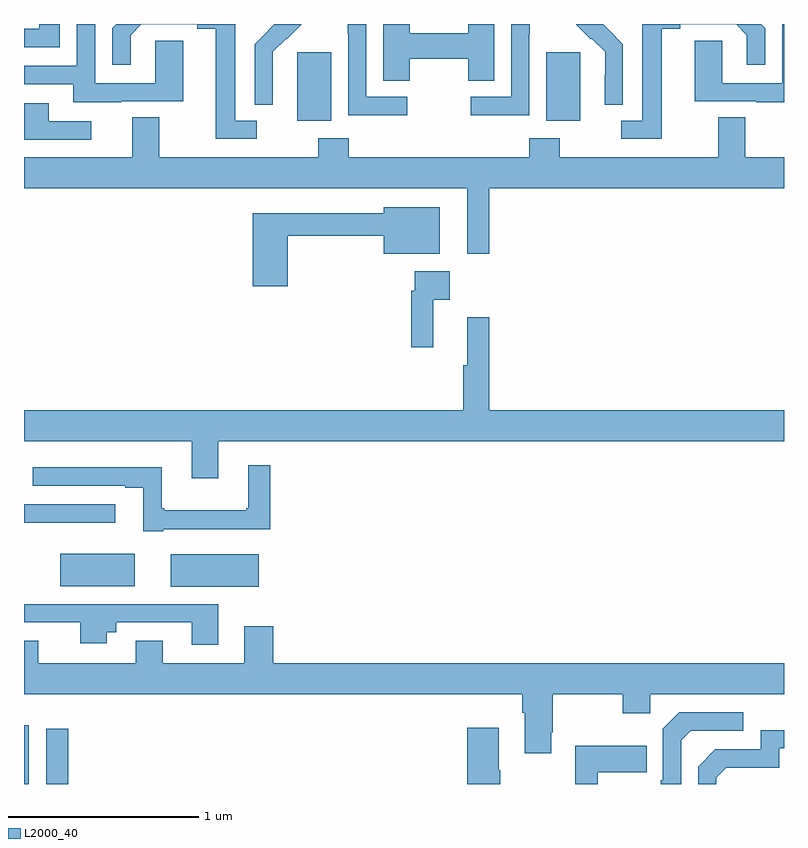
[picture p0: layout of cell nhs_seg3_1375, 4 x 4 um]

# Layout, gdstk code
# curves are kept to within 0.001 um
import gdstk
lib = gdstk.Library(unit=1e-6, precision=1e-09)
def R(c, l, rs):  # rectangles x0, y0, x1, y1
    for r in rs: c.add(gdstk.rectangle(r[:2], r[2:], *l))
def P(c, l, *ps):  # polygons
    for p in ps: c.add(gdstk.Polygon(p, *l))
L2000_40 = (2000, 40)

nhs_seg3_1375 = lib.new_cell('nhs_seg3_1375')
R(nhs_seg3_1375, L2000_40, [(181,744.4,181.024,744.709), (181.116,744.4,181.232,744.691), (181.772,745.439,182.236,745.609), (181.19,745.442,181.582,745.612), (181,745.775,181.48,745.872), (182.438,747.89,182.617,748.251), (183.749,747.89,183.928,748.251)])
P(nhs_seg3_1375, L2000_40, [(182.31,748.13),(182.309,748.253),(182.379,748.323),(182.382,748.32),(182.459,748.397),(182.459,748.4),(182.318,748.4),(182.214,748.294),(182.214,747.976),(182.31,747.976)],
  [(183.66,748.348),(183.663,748.348),(183.663,748.4),(183.564,748.4),(183.564,748.017),(183.351,748.017),(183.351,747.919),(183.66,747.919)],
  [(184.152,748.294),(184.048,748.4),(183.907,748.4),(183.907,748.397),(183.984,748.32),(183.987,748.323),(184.058,748.253),(184.058,748.13),(184.056,748.13),(184.056,747.976),(184.152,747.976)],
  [(181.188,748.4),(181.079,748.4),(181.079,748.374),(181,748.374),(181,748.278),(181.188,748.278)],
  [(183.03,748.216),(183.337,748.216),(183.337,748.102),(183.475,748.102),(183.475,748.4),(183.337,748.4),(183.337,748.352),(183.03,748.352),(183.03,748.4),(182.891,748.4),(182.891,748.102),(183.03,748.102)],
  [(184.357,748.376),(184.453,748.376),(184.453,748.398),(184.748,748.398),(184.805,748.341),(184.805,748.185),(184.902,748.185),(184.902,748.378),(184.88,748.4),(184.252,748.4),(184.253,747.891),(184.143,747.891),(184.143,747.795),(184.357,747.795)],
  [(183.016,748.017),(182.802,748.017),(182.802,748.4),(182.704,748.4),(182.704,748.348),(182.706,748.348),(182.706,747.919),(183.016,747.919)],
  [(182.224,747.891),(182.113,747.891),(182.114,748.4),(181.486,748.4),(181.464,748.378),(181.464,748.185),(181.561,748.185),(181.561,748.341),(181.618,748.398),(181.913,748.398),(181.913,748.376),(182.009,748.376),(182.009,747.795),(182.224,747.795)],
  [(181.513,747.993),(181.837,747.993),(181.837,748.313),(181.692,748.313),(181.692,748.089),(181.374,748.089),(181.374,748.4),(181.278,748.4),(181.278,748.179),(181,748.179),(181,748.083),(181.259,748.083),(181.259,747.989),(181.513,747.989)],
  [(185,748.4),(184.992,748.4),(184.992,748.089),(184.674,748.089),(184.674,748.313),(184.529,748.313),(184.529,747.993),(184.853,747.993),(184.853,747.989),(185,747.989)],
  [(181.354,747.888),(181.129,747.888),(181.129,747.984),(181,747.984),(181,747.792),(181.354,747.792)],
  [(183.449,747.536),(185,747.536),(185,747.7),(184.795,747.7),(184.795,747.908),(184.655,747.908),(184.655,747.7),(183.819,747.7),(183.819,747.799),(183.659,747.799),(183.659,747.7),(182.708,747.7),(182.708,747.799),(182.548,747.799),(182.548,747.7),(181.711,747.7),(181.711,747.908),(181.571,747.908),(181.571,747.7),(181,747.7),(181,747.536),(183.332,747.536),(183.332,747.192),(183.449,747.192)],
  [(182.387,747.286),(182.894,747.286),(182.894,747.191),(183.187,747.191),(183.187,747.436),(182.894,747.436),(182.894,747.403),(182.204,747.403),(182.204,747.021),(182.387,747.021)],
  [(183.155,746.948),(183.241,746.948),(183.241,747.1),(183.057,747.1),(183.057,746.996),(183.037,746.996),(183.037,746.7),(183.155,746.7)],
  [(182.023,746.204),(185,746.204),(185,746.368),(183.449,746.368),(183.449,746.857),(183.332,746.857),(183.332,746.604),(183.313,746.604),(183.313,746.368),(181,746.368),(181,746.204),(181.883,746.204),(181.883,746.01),(182.023,746.01)],
  [(181.732,745.742),(182.297,745.742),(182.297,746.077),(182.18,746.077),(182.18,745.852),(182.169,745.852),(182.169,745.84),(181.738,745.84),(181.738,745.852),(181.726,745.852),(181.726,746.068),(181.047,746.068),(181.047,745.971),(181.532,745.971),(181.532,745.959),(181.628,745.959),(181.628,745.731),(181.732,745.731)],
  [(182.023,745.347),(181,745.347),(181,745.251),(181.295,745.251),(181.295,745.142),(181.435,745.142),(181.435,745.199),(181.486,745.199),(181.486,745.251),(181.883,745.251),(181.883,745.134),(182.023,745.134)],
  [(183.775,744.673),(183.783,744.673),(183.783,744.872),(184.15,744.872),(184.15,744.773),(184.296,744.773),(184.296,744.872),(185,744.872),(185,745.036),(182.312,745.036),(182.312,745.231),(182.159,745.231),(182.159,745.036),(181.729,745.036),(181.729,745.153),(181.589,745.153),(181.589,745.036),(181.075,745.036),(181.075,745.153),(181,745.153),(181,744.872),(183.623,744.872),(183.623,744.776),(183.635,744.776),(183.635,744.561),(183.775,744.561)],
  [(184.458,744.63),(184.509,744.681),(184.786,744.681),(184.786,744.777),(184.449,744.777),(184.362,744.69),(184.362,744.421),(184.35,744.421),(184.35,744.4),(184.458,744.4)],
  [(183.507,744.473),(183.499,744.473),(183.499,744.697),(183.332,744.697),(183.332,744.4),(183.507,744.4)],
  [(184.644,744.432),(184.697,744.485),(184.974,744.485),(184.974,744.588),(185,744.588),(185,744.684),(184.878,744.684),(184.878,744.582),(184.638,744.582),(184.548,744.492),(184.548,744.4),(184.644,744.4)],
  [(184.021,744.461),(184.277,744.461),(184.277,744.601),(183.9,744.601),(183.9,744.4),(184.021,744.4)])

lib.write_gds('nhs_seg3_1375.gds')
